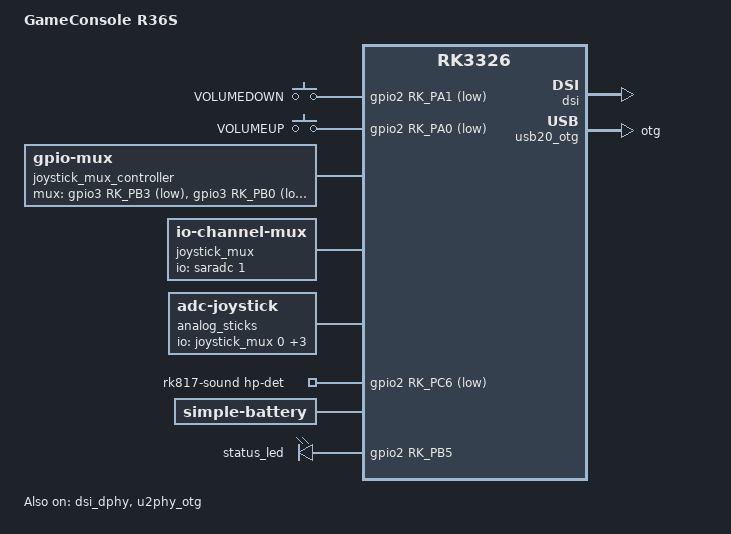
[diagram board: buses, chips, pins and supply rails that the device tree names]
// SPDX-License-Identifier: (GPL-2.0+ OR MIT)
/*
 * TreeOS — GameConsole R36S (Rockchip RK3326)
 *
 * 基线：mainline v6.12 arch/arm64/boot/dts/rockchip/rk3326-odroid-go.dtsi
 * 参数来源：本机厂商 dtb（rk3326-r36s-panel4-type2-linux.dtb）反编译实测
 *
 * 已验证的硬件事实：
 *   - 按键/摇杆走线与 ODROID-GO Super 完全一致（gpio1/gpio2/gpio3 同引脚）
 *   - 面板是 simple-panel-dsi + ST7701S 类初始化序列，4 lane，640x480
 *   - 音频 rk817-codec，耳机检测 GPIO2_C6（低有效）
 *   - 背光 pwm1，周期 62745ns（≈15.9kHz）
 *   - WiFi RTL8188EU 挂在 OTG 口（usb@ff300000）的内部 hub 上
 *
 * 还差一件事才能开机：面板驱动（见文件末尾 PANEL 段）
 */

/dts-v1/;

#include <dt-bindings/gpio/gpio.h>
#include <dt-bindings/input/input.h>
#include <dt-bindings/leds/common.h>
#include <dt-bindings/pinctrl/rockchip.h>
#include "rk3326-odroid-go.dtsi"

/ {
	model = "GameConsole R36S";
	compatible = "rockchip,rk3326-r36s", "rockchip,rk3326";
};

/* ---------------------------------------------------------------- 背光 */
/* 厂商值：pwms = <&pwm1 0 62745 0>，默认亮度 51/160 */
&backlight {
	power-supply = <&vcc_bl>;
	pwms = <&pwm1 0 62745 0>;
	brightness-levels = <0 1 2 3 4 5 6 7 8 9 10 11 12 13 14 15
			     16 17 18 19 20 21 22 23 24 25 26 27 28 29 30 31
			     32 33 34 35 36 37 38 39 40 41 42 43 44 45 46 47
			     48 49 50 51 52 53 54 55 56 57 58 59 60 61 62 63
			     64 65 66 67 68 69 70 71 72 73 74 75 76 77 78 79
			     80 81 82 83 84 85 86 87 88 89 90 91 92 93 94 95
			     96 97 98 99 100 101 102 103 104 105 106 107 108 109 110 111
			     112 113 114 115 116 117 118 119 120 121 122 123 124 125 126 127
			     128 129 130 131 132 133 134 135 136 137 138 139 140 141 142 143
			     144 145 146 147 148 149 150 151 152 153 154 155 156 157 158 159
			     160>;
	default-brightness-level = <51>;
};

/* ---------------------------------------------------------------- 面板 */
/*
 * PANEL —— 这是 K2 唯一还缺的一块
 *
 * 厂商：compatible = "simple-panel-dsi"，mainline 的 panel-simple **不认**这个
 * compatible（dsi_of_match 里只有 7 个具体面板型号），而且 mainline 的
 * panel-simple / dw-mipi-dsi-rockchip **都不解析 panel-init-sequence**。
 *
 * 所以面板必须靠驱动补丁，而不是改 dts。见 dts/README.md「面板补丁」。
 * 补丁做好后，把下面的 compatible 换成对应型号即可，其余参数已经全部备好。
 */
&internal_display {
	compatible = "rockchip,r36s-panel";	/* 配 dts/panel-r36s.c */
	backlight = <&backlight>;
	reset-gpios = <&gpio3 RK_PC0 GPIO_ACTIVE_HIGH>;
	IOVCC-supply = <&vcc_lcd>;
	VCC-supply = <&vcc_lcd>;
	width-mm = <52>;
	height-mm = <70>;

	/* dtsi 给 go3 的面板设了 270°；R36S 原生 640x480 横向，必须清零 */
	rotation = <0>;
};

&dsi {
	/* 4 data lane，RGB888，video mode；厂商 dsi,flags = 0x0a03 */
	status = "okay";
};

&dsi_dphy {
	status = "okay";
};

/* ---------------------------------------------------------------- 按键 */
/*
 * 与 go3 的差别（全部来自厂商 dtb）：
 *   - Select / Start 在本机是 BTN_TRIGGER_HAPPY1/2（704/705），不是 BTN_SELECT/START
 *   - GPIO2_PA2/PA3 = 右/左摇杆按下（706/707），GPIO2_PA4 = 第 5 个功能键（708）
 *   - GPIO2_PA5 空
 */

/* 被音量键占用 */
/delete-node/ &btn_f1;		/* GPIO2_PA0 = 音量+ */
/delete-node/ &btn_f2;		/* GPIO2_PA1 = 音量- */

&btn_f3 {			/* GPIO2_PA2 */
	label = "BTN_THUMBR";
	linux,code = <BTN_TRIGGER_HAPPY3>;	/* 706 */
};

&btn_f4 {			/* GPIO2_PA3 */
	label = "BTN_THUMBL";
	linux,code = <BTN_TRIGGER_HAPPY4>;	/* 707 */
};

&btn_f5 {			/* GPIO2_PA4 */
	label = "BTN_F5";
	linux,code = <BTN_TRIGGER_HAPPY5>;	/* 708 */
};

/delete-node/ &btn_f6;		/* GPIO2_PA5 未使用 */

&builtin_gamepad {
	pinctrl-names = "default";
	pinctrl-0 = <&btn_pins &btn_pins_extra>;

	button-sw19 {
		gpios = <&gpio3 RK_PB1 GPIO_ACTIVE_LOW>;
		label = "SELECT";
		linux,code = <BTN_TRIGGER_HAPPY1>;	/* 704 */
	};
	/* TR2 / TL2 在这块板子上和 go3 一样是反的 */
	button-sw20 {
		gpios = <&gpio3 RK_PB7 GPIO_ACTIVE_LOW>;
		label = "TOP-RIGHT 2";
		linux,code = <BTN_TR2>;
	};
	button-sw21 {
		gpios = <&gpio3 RK_PB2 GPIO_ACTIVE_LOW>;
		label = "TOP-LEFT 2";
		linux,code = <BTN_TL2>;
	};
	button-sw22 {
		gpios = <&gpio3 RK_PB4 GPIO_ACTIVE_LOW>;
		label = "START";
		linux,code = <BTN_TRIGGER_HAPPY2>;	/* 705 */
	};
};

/* 音量键：GPIO2_PA0 / PA1，低有效 */
/ {
	gpio-keys-vol {
		compatible = "gpio-keys";
		autorepeat;
		/* 引脚已由 btn_pins 配成 GPIO，这里不要再申请一次，否则
		 * rockchip-pinctrl 会报 "could not request pin 64" */

		button-vol-down {
			gpios = <&gpio2 RK_PA1 GPIO_ACTIVE_LOW>;
			label = "VOLUMEDOWN";
			linux,code = <KEY_VOLUMEDOWN>;
		};

		button-volume-up {
			gpios = <&gpio2 RK_PA0 GPIO_ACTIVE_LOW>;
			label = "VOLUMEUP";
			linux,code = <KEY_VOLUMEUP>;
		};
	};
};

/* ---------------------------------------------------------------- 摇杆 */
/* 走线与 go3 相同：saradc ch1 + GPIO3 PB3/PB0 复用，PB5 使能 */
/ {
	joystick_mux_controller: mux-controller {
		compatible = "gpio-mux";
		pinctrl-names = "default";
		pinctrl-0 = <&mux_en_pins>;
		#mux-control-cells = <0>;

		mux-gpios = <&gpio3 RK_PB3 GPIO_ACTIVE_LOW>,
			    <&gpio3 RK_PB0 GPIO_ACTIVE_LOW>;
	};

	joystick_mux: adc-mux {
		compatible = "io-channel-mux";
		io-channels = <&saradc 1>;
		io-channel-names = "parent";
		#io-channel-cells = <1>;

		mux-controls = <&joystick_mux_controller>;
		channels = "0", "1", "2", "3";
	};

	analog_sticks: adc-joystick {
		compatible = "adc-joystick";
		io-channels = <&joystick_mux 0>,
			      <&joystick_mux 1>,
			      <&joystick_mux 2>,
			      <&joystick_mux 3>;
		poll-interval = <60>;
		#address-cells = <1>;
		#size-cells = <0>;

		/* 厂商标定：scale=2 deadzone=64 fuzz=32 flat=32 max-step=225 */

		axis@0 {
			reg = <0>;
			abs-flat = <10>;
			abs-fuzz = <10>;
			abs-range = <180 800>;
			linux,code = <ABS_X>;
		};

		axis@1 {
			reg = <1>;
			abs-flat = <10>;
			abs-fuzz = <10>;
			abs-range = <180 800>;
			linux,code = <ABS_RX>;
		};

		axis@2 {
			reg = <2>;
			abs-flat = <10>;
			abs-fuzz = <10>;
			abs-range = <180 800>;
			linux,code = <ABS_Y>;
		};

		axis@3 {
			reg = <3>;
			abs-flat = <10>;
			abs-fuzz = <10>;
			abs-range = <180 800>;
			linux,code = <ABS_RY>;
		};
	};
};

/* ---------------------------------------------------------------- 音频 */
/*
 * 厂商：hp-det-gpio = GPIO2_C6，ACTIVE_LOW，并且带 simple-audio-card,codec-hp-det
 * go3 用的是 ACTIVE_HIGH。这里按厂商 dtb 取低有效——**上机第一件事就是插耳机验证**。
 */

/* codec 子节点要能被 sound-dai 引用，必须声明 #sound-dai-cells */
&rk817_codec {
	compatible = "rockchip,rk817-codec";
	#sound-dai-cells = <0>;
};

/ {
	rk817-sound {
		compatible = "simple-audio-card";
		simple-audio-card,name = "rockchip,rk817-codec";
		simple-audio-card,format = "i2s";
		simple-audio-card,mclk-fs = <256>;
		simple-audio-card,hp-det-gpio = <&gpio2 RK_PC6 GPIO_ACTIVE_LOW>;
		/* 名字必须与 rk817 codec 的 DAPM 引脚一致：
		 * MICL/MICR、HPOL/HPOR、SPKO */
		simple-audio-card,widgets =
			"Microphone", "Mic Jack",
			"Headphone", "Headphones",
			"Speaker", "Speaker";
		simple-audio-card,routing =
			"MICL", "Mic Jack",
			"Headphones", "HPOL",
			"Headphones", "HPOR",
			"Speaker", "SPKO";

		/* 厂商 DT 指向 codec 子节点，不是 PMIC 本身 */
		simple-audio-card,codec {
			sound-dai = <&rk817_codec>;
		};

		simple-audio-card,cpu {
			sound-dai = <&i2s1_2ch>;
		};
	};
};

/* ---------------------------------------------------------------- 电池 */
/*
 * 厂商 dtb 没有 simple-battery（用的是私有充电动画节点）。
 * 先按 go3 的 4Ah 曲线占位，**必须按实物电池标定**，否则电量显示不准。
 */
&rk817_charger {
	monitored-battery = <&battery>;
};

/ {
	battery: battery {
		compatible = "simple-battery";
		charge-full-design-microamp-hours = <4000000>;
		charge-term-current-microamp = <300000>;
		constant-charge-current-max-microamp = <2000000>;
		constant-charge-voltage-max-microvolt = <4200000>;
		factory-internal-resistance-micro-ohms = <180000>;
		voltage-max-design-microvolt = <4100000>;
		voltage-min-design-microvolt = <3500000>;

		ocv-capacity-celsius = <20>;
		ocv-capacity-table-0 = <4046950 100>, <4001920 95>, <3967900 90>, <3919950 85>,
					<3888450 80>, <3861850 75>, <3831540 70>, <3799130 65>,
					<3768190 60>, <3745650 55>, <3726610 50>, <3711630 45>,
					<3696720 40>, <3685660 35>, <3674950 30>, <3663050 25>,
					<3649470 20>, <3635260 15>, <3616920 10>, <3592440 5>,
					<3574170 0>;
	};
};

/* ---------------------------------------------------------------- USB / WiFi */
/*
 * RTL8188EU 挂在 OTG 控制器（usb@ff300000）的内部 hub 上（1a40:0101）。
 * dtsi 里 OTG 口是关的，这里打开；vcc_host（GPIO0_B7）已在 dtsi 里配好。
 * 驱动是外挂 rtl8188eu（DKMS），不是内核自带的 rtl8xxxu。
 */
&u2phy_otg {
	status = "okay";
};

&usb20_otg {
	status = "okay";
	dr_mode = "otg";
};

/* ---------------------------------------------------------------- 存储 */
/* 实测：SD 卡挂在 ff370000（mmc0 = &sdmmc），sdio(ff380000) 空，emmc 无 */
&sdmmc {
	card-detect-delay = <800>;
};

/* R36S 没有 SPI NOR，dtsi 默认开着，关掉避免无谓报错 */
&sfc {
	status = "disabled";
};


/* ---------------------------------------------------------------- 状态灯 */
/*
 * 诊断用：厂商 LED 在 GPIO2_B5（arkos4clone-led 驱动里的 led-gpio）。
 * mainline 没有那个私有驱动，这里用标准 gpio-leds + heartbeat，
 * 内核一旦跑起来就开始闪 —— 这是没有串口时最可靠的"活没活"信号。
 */
/ {
	leds {
		compatible = "gpio-leds";
		pinctrl-names = "default";
		pinctrl-0 = <&status_led_pin>;

		status_led: led {
			gpios = <&gpio2 RK_PB5 GPIO_ACTIVE_HIGH>;
			/* 诊断期可用 heartbeat 看内核活没活；日常关掉，晚上太亮 */
			linux,default-trigger = "none";
			default-state = "off";
		};
	};
};

/* ---------------------------------------------------------------- pinctrl */
&pinctrl {
	btns {
		btn_pins_vol: btn-pins-vol {
			rockchip,pins = <2 RK_PA0 RK_FUNC_GPIO &pcfg_pull_up>,
					<2 RK_PA1 RK_FUNC_GPIO &pcfg_pull_up>;
		};

		btn_pins_extra: btn-pins-extra {
			rockchip,pins = <3 RK_PB1 RK_FUNC_GPIO &pcfg_pull_up>,
					<3 RK_PB2 RK_FUNC_GPIO &pcfg_pull_up>,
					<3 RK_PB4 RK_FUNC_GPIO &pcfg_pull_up>,
					<3 RK_PB7 RK_FUNC_GPIO &pcfg_pull_up>;
		};
	};

	leds {
		status_led_pin: status-led-pin {
			rockchip,pins = <2 RK_PB5 RK_FUNC_GPIO &pcfg_pull_none>;
		};
	};

	joystick {
		mux_en_pins: mux-pins {
			rockchip,pins = <3 RK_PB5 RK_FUNC_GPIO &pcfg_output_low>;
		};
	};
};
